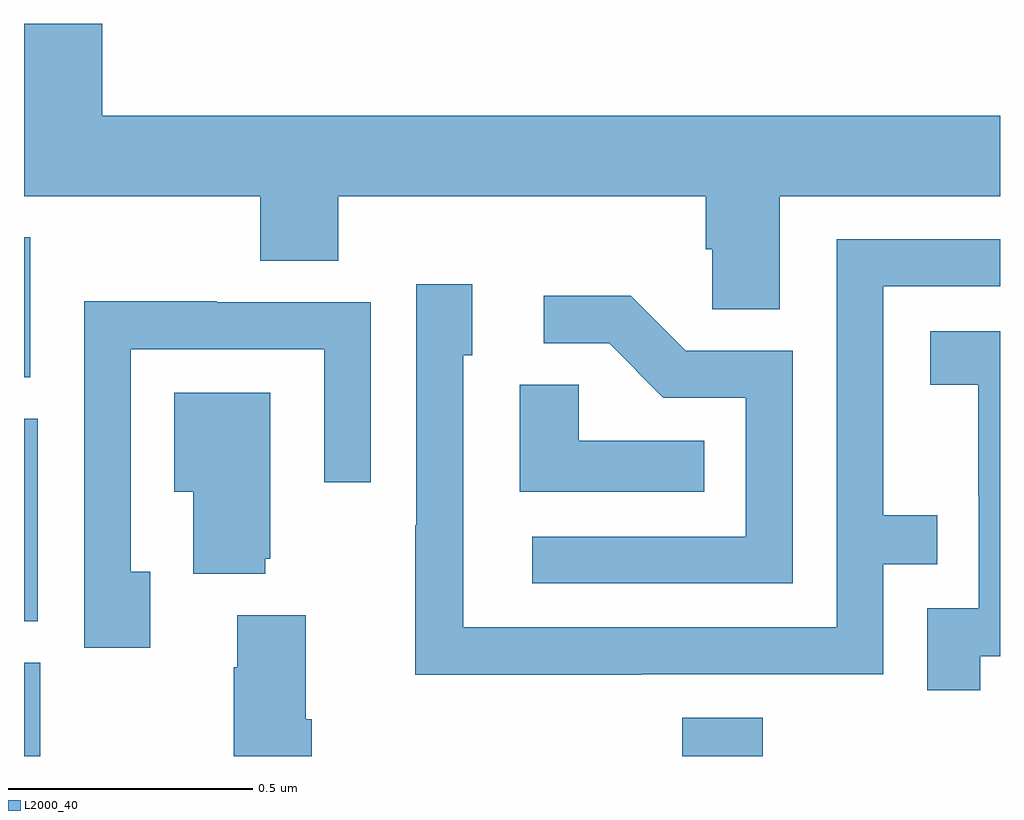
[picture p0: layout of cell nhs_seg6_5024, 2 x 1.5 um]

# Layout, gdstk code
import gdstk
lib = gdstk.Library(unit=1e-6, precision=1e-09)
def R(c, l, rs):  # rectangles x0, y0, x1, y1
    for r in rs: c.add(gdstk.rectangle(r[:2], r[2:], *l))
def P(c, l, *ps):  # polygons
    for p in ps: c.add(gdstk.Polygon(p, *l))
L2000_40 = (2000, 40)

nhs_seg6_5024 = lib.new_cell('nhs_seg6_5024')
R(nhs_seg6_5024, L2000_40, [(177,967.5,177.033,967.692), (178.349,967.5,178.514,967.579), (177,967.777,177.028,968.192), (177,968.277,177.013,968.563)])
P(nhs_seg6_5024, L2000_40, [(178.549,968.648),(179,968.648),(179,968.812),(177.16,968.812),(177.16,969.001),(177,969.001),(177,968.648),(177.484,968.648),(177.484,968.515),(177.644,968.515),(177.644,968.648),(178.397,968.648),(178.397,968.539),(178.41,968.539),(178.41,968.416),(178.549,968.416)],
  [(178.265,967.668),(178.761,967.668),(178.761,967.893),(178.871,967.893),(178.871,967.994),(178.761,967.994),(178.761,968.463),(179,968.463),(179,968.559),(178.665,968.559),(178.665,967.764),(177.9,967.764),(177.9,968.322),(177.919,968.322),(177.919,968.467),(177.804,968.467),(177.804,967.973),(177.802,967.973),(177.802,967.667),(178.265,967.667)],
  [(178.575,968.331),(178.356,968.331),(178.243,968.444),(178.065,968.444),(178.065,968.346),(178.199,968.346),(178.31,968.235),(178.479,968.235),(178.479,967.95),(178.041,967.95),(178.041,967.854),(178.575,967.854)],
  [(177.259,967.878),(177.219,967.878),(177.219,968.334),(177.615,968.334),(177.615,968.061),(177.711,968.061),(177.711,968.43),(177.395,968.43),(177.395,968.432),(177.123,968.432),(177.123,967.722),(177.259,967.722)],
  [(178.96,967.705),(179,967.705),(179,968.371),(178.857,968.371),(178.857,968.261),(178.955,968.261),(178.955,968.033),(178.956,968.033),(178.956,967.803),(178.851,967.803),(178.851,967.635),(178.96,967.635)],
  [(178.394,968.146),(178.137,968.146),(178.137,968.261),(178.016,968.261),(178.016,968.042),(178.394,968.042)],
  [(177.494,967.905),(177.505,967.905),(177.505,968.245),(177.308,968.245),(177.308,968.042),(177.347,968.042),(177.347,967.874),(177.494,967.874)],
  [(177.59,967.576),(177.577,967.576),(177.577,967.789),(177.437,967.789),(177.437,967.682),(177.43,967.682),(177.43,967.5),(177.59,967.5)])

lib.write_gds('nhs_seg6_5024.gds')
